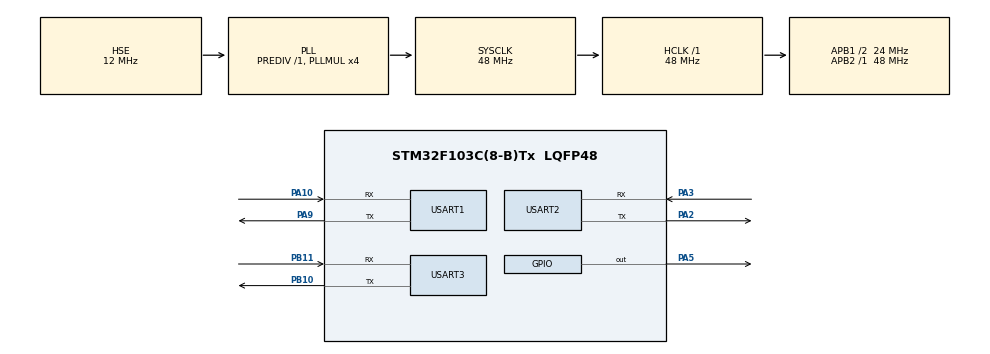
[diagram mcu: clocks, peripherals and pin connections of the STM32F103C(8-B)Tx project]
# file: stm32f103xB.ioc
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IWDG.Prescaler=IWDG_PRESCALER_256
Mcu.Family=STM32F1
Mcu.Name=STM32F103C(8-B)Tx
Mcu.Package=LQFP48
NVIC.PriorityGroup=NVIC_PRIORITYGROUP_4
PA10.Mode=Asynchronous
PA10.Signal=USART1_RX
PA2.Mode=Asynchronous
PA2.Signal=USART2_TX
PA3.Mode=Asynchronous
PA3.Signal=USART2_RX
PA5.Signal=GPIO_Output
PA9.Mode=Asynchronous
PA9.Signal=USART1_TX
PB10.Mode=Asynchronous
PB10.Signal=USART3_TX
PB11.Mode=Asynchronous
PB11.Signal=USART3_RX
PD0-OSC_IN.Mode=HSE-External-Oscillator
PD0-OSC_IN.Signal=RCC_OSC_IN
PD1-OSC_OUT.Mode=HSE-External-Oscillator
PD1-OSC_OUT.Signal=RCC_OSC_OUT
ProjectManager.HeapSize=0x200
ProjectManager.StackSize=0x400
ProjectManager.TargetToolchain=Makefile
RCC.AHBFreq_Value=48000000
RCC.APB1CLKDivider=RCC_HCLK_DIV2
RCC.APB1Freq_Value=24000000
RCC.APB1TimFreq_Value=48000000
RCC.APB2Freq_Value=48000000
RCC.APB2TimFreq_Value=48000000
RCC.HCLKFreq_Value=48000000
RCC.HSE_VALUE=12000000
RCC.PLLMUL=RCC_PLL_MUL4
RCC.PLLSourceVirtual=RCC_PLLSOURCE_HSE
RCC.SYSCLKFreq_VALUE=48000000
RCC.SYSCLKSource=RCC_SYSCLKSOURCE_PLLCLK
RCC.USBFreq_Value=48000000
USART1.VirtualMode=VM_ASYNC
USART2.VirtualMode=VM_ASYNC
USART3.VirtualMode=VM_ASYNC
VP_IWDG_VS_IWDG.Mode=IWDG_Activate
VP_SYS_VS_ND.Mode=No_Debug
board=custom

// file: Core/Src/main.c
/* USER CODE BEGIN Header */
/**
  ******************************************************************************
  * @file           : main.c
  * @brief          : Main program body
  ******************************************************************************
  * @attention
  *
  * Copyright (c) 2022 STMicroelectronics.
  * All rights reserved.
  *
  * This software is licensed under terms that can be found in the LICENSE file
  * in the root directory of this software component.
  * If no LICENSE file comes with this software, it is provided AS-IS.
  *
  ******************************************************************************
  */
/* USER CODE END Header */
#include "main.h"

/* USER CODE BEGIN Includes */
#include "main_loop.h"
/* USER CODE END Includes */

IWDG_HandleTypeDef hiwdg;

UART_HandleTypeDef huart1;
UART_HandleTypeDef huart2;
UART_HandleTypeDef huart3;

void SystemClock_Config(void);
static void MX_GPIO_Init(void);
static void MX_IWDG_Init(void);
static void MX_USART2_UART_Init(void);
static void MX_USART1_UART_Init(void);
static void MX_USART3_UART_Init(void);

/* USER CODE BEGIN 0 */

volatile int i = 0;

/* USER CODE END 0 */

int main(void)
{

  /* MCU Configuration--------------------------------------------------------*/

  /* Reset of all peripherals, Initializes the Flash interface and the Systick. */
  HAL_Init();

  /* Configure the system clock */
  SystemClock_Config();

  /* Initialize all configured peripherals */
  MX_GPIO_Init();
  MX_IWDG_Init();
  MX_USART2_UART_Init();
  MX_USART1_UART_Init();
  MX_USART3_UART_Init();

  /* Infinite loop */
  /* USER CODE BEGIN WHILE */

  for (int j=0; j<5; ++j)
  {
    volatile int i = 0;
    for(i=0;i<0x80000;++i) {;}
    HAL_GPIO_WritePin(GPIOA, GPIO_PIN_5, GPIO_PIN_RESET);
    for(i=0;i<0x80000;++i) {;}
    HAL_GPIO_WritePin(GPIOA, GPIO_PIN_5, GPIO_PIN_SET);
  }

  HAL_UART_Transmit(&huart1, (uint8_t*)"huart1\n", 7, 1000000);
  HAL_UART_Transmit(&huart2, (uint8_t*)"huart2\n", 7, 1000000);
  HAL_UART_Transmit(&huart3, (uint8_t*)"huart3\n", 7, 1000000);

  main_loop();

  while (1)
  {
    for(i=0;i<0x80000;++i) {;}
    HAL_GPIO_WritePin(GPIOA, GPIO_PIN_5, GPIO_PIN_RESET);
    for(i=0;i<0x80000;++i) {;}
    HAL_GPIO_WritePin(GPIOA, GPIO_PIN_5, GPIO_PIN_SET);

    /* USER CODE END WHILE */

  }
}

void SystemClock_Config(void)
{
  RCC_OscInitTypeDef RCC_OscInitStruct = {0};
  RCC_ClkInitTypeDef RCC_ClkInitStruct = {0};

  /** Initializes the RCC Oscillators according to the specified parameters
  * in the RCC_OscInitTypeDef structure.
  */
  RCC_OscInitStruct.OscillatorType = RCC_OSCILLATORTYPE_LSI|RCC_OSCILLATORTYPE_HSE;
  RCC_OscInitStruct.HSEState = RCC_HSE_ON;
  RCC_OscInitStruct.HSEPredivValue = RCC_HSE_PREDIV_DIV1;
  RCC_OscInitStruct.HSIState = RCC_HSI_ON;
  RCC_OscInitStruct.LSIState = RCC_LSI_ON;
  RCC_OscInitStruct.PLL.PLLState = RCC_PLL_ON;
  RCC_OscInitStruct.PLL.PLLSource = RCC_PLLSOURCE_HSE;
  RCC_OscInitStruct.PLL.PLLMUL = RCC_PLL_MUL4;
  if (HAL_RCC_OscConfig(&RCC_OscInitStruct) != HAL_OK)
  {
    Error_Handler();
  }

  /** Initializes the CPU, AHB and APB buses clocks
  */
  RCC_ClkInitStruct.ClockType = RCC_CLOCKTYPE_HCLK|RCC_CLOCKTYPE_SYSCLK
                              |RCC_CLOCKTYPE_PCLK1|RCC_CLOCKTYPE_PCLK2;
  RCC_ClkInitStruct.SYSCLKSource = RCC_SYSCLKSOURCE_PLLCLK;
  RCC_ClkInitStruct.AHBCLKDivider = RCC_SYSCLK_DIV1;
  RCC_ClkInitStruct.APB1CLKDivider = RCC_HCLK_DIV2;
  RCC_ClkInitStruct.APB2CLKDivider = RCC_HCLK_DIV1;

  if (HAL_RCC_ClockConfig(&RCC_ClkInitStruct, FLASH_LATENCY_1) != HAL_OK)
  {
    Error_Handler();
  }
}

static void MX_IWDG_Init(void)
{

  hiwdg.Instance = IWDG;
  hiwdg.Init.Prescaler = IWDG_PRESCALER_256;
  hiwdg.Init.Reload = 4095;
  if (HAL_IWDG_Init(&hiwdg) != HAL_OK)
  {
    Error_Handler();
  }

}

static void MX_USART1_UART_Init(void)
{

  huart1.Instance = USART1;
  huart1.Init.BaudRate = 115200;
  huart1.Init.WordLength = UART_WORDLENGTH_8B;
  huart1.Init.StopBits = UART_STOPBITS_1;
  huart1.Init.Parity = UART_PARITY_NONE;
  huart1.Init.Mode = UART_MODE_TX_RX;
  huart1.Init.HwFlowCtl = UART_HWCONTROL_NONE;
  huart1.Init.OverSampling = UART_OVERSAMPLING_16;
  if (HAL_UART_Init(&huart1) != HAL_OK)
  {
    Error_Handler();
  }

}

static void MX_USART2_UART_Init(void)
{

  huart2.Instance = USART2;
  huart2.Init.BaudRate = 115200;
  huart2.Init.WordLength = UART_WORDLENGTH_8B;
  huart2.Init.StopBits = UART_STOPBITS_1;
  huart2.Init.Parity = UART_PARITY_NONE;
  huart2.Init.Mode = UART_MODE_TX_RX;
  huart2.Init.HwFlowCtl = UART_HWCONTROL_NONE;
  huart2.Init.OverSampling = UART_OVERSAMPLING_16;
  if (HAL_UART_Init(&huart2) != HAL_OK)
  {
    Error_Handler();
  }

}

static void MX_USART3_UART_Init(void)
{

  huart3.Instance = USART3;
  huart3.Init.BaudRate = 115200;
  huart3.Init.WordLength = UART_WORDLENGTH_8B;
  huart3.Init.StopBits = UART_STOPBITS_1;
  huart3.Init.Parity = UART_PARITY_NONE;
  huart3.Init.Mode = UART_MODE_TX_RX;
  huart3.Init.HwFlowCtl = UART_HWCONTROL_NONE;
  huart3.Init.OverSampling = UART_OVERSAMPLING_16;
  if (HAL_UART_Init(&huart3) != HAL_OK)
  {
    Error_Handler();
  }

}

static void MX_GPIO_Init(void)
{
  GPIO_InitTypeDef GPIO_InitStruct = {0};

  /* GPIO Ports Clock Enable */
  __HAL_RCC_GPIOD_CLK_ENABLE();
  __HAL_RCC_GPIOA_CLK_ENABLE();
  __HAL_RCC_GPIOB_CLK_ENABLE();

  /*Configure GPIO pin Output Level */
  HAL_GPIO_WritePin(GPIOA, GPIO_PIN_5, GPIO_PIN_RESET);

  /*Configure GPIO pin : PA5 */
  GPIO_InitStruct.Pin = GPIO_PIN_5;
  GPIO_InitStruct.Mode = GPIO_MODE_OUTPUT_PP;
  GPIO_InitStruct.Pull = GPIO_NOPULL;
  GPIO_InitStruct.Speed = GPIO_SPEED_FREQ_LOW;
  HAL_GPIO_Init(GPIOA, &GPIO_InitStruct);

}

void Error_Handler(void)
{
  /* USER CODE BEGIN Error_Handler_Debug */
  /* User can add his own implementation to report the HAL error return state */
  //sysErrorHandler(SYS_ERROR_FROM_MX_MAIN);
  __disable_irq();
  while (1)
  {
  }
  /* USER CODE END Error_Handler_Debug */
}
